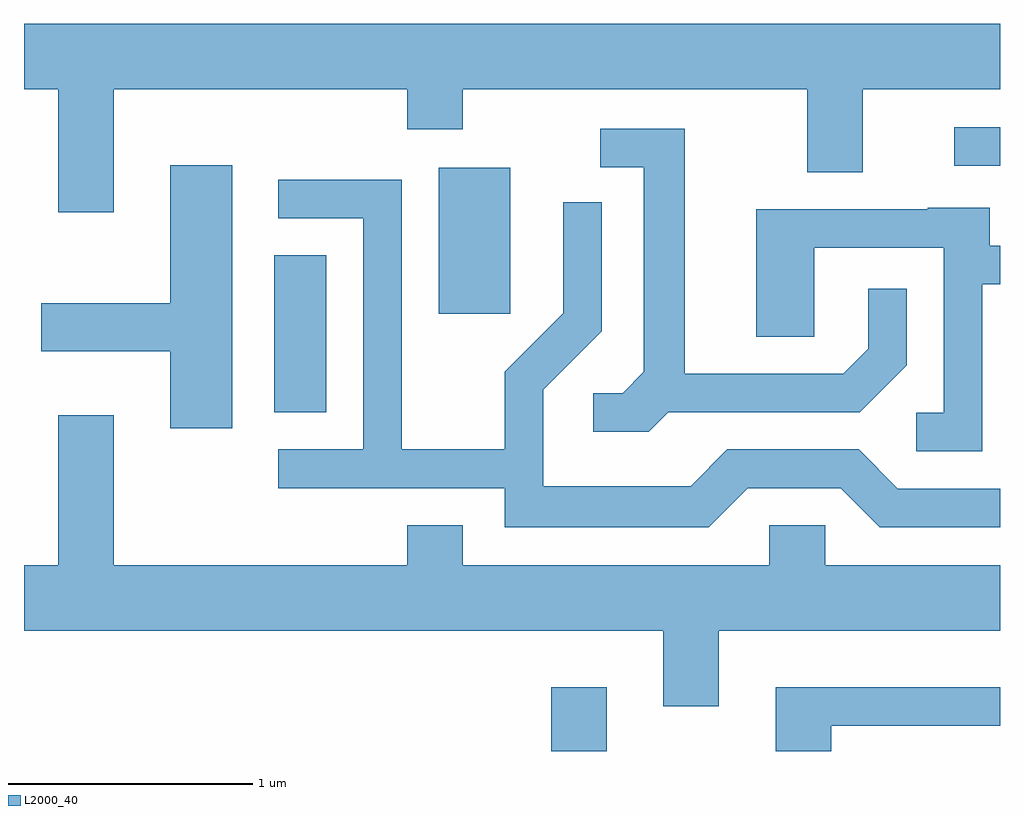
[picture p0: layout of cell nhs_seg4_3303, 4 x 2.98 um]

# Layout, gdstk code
import gdstk
lib = gdstk.Library(unit=1e-6, precision=1e-09)
def R(c, l, rs):  # rectangles x0, y0, x1, y1
    for r in rs: c.add(gdstk.rectangle(r[:2], r[2:], *l))
def P(c, l, *ps):  # polygons
    for p in ps: c.add(gdstk.Polygon(p, *l))
L2000_40 = (2000, 40)

nhs_seg4_3303 = lib.new_cell('nhs_seg4_3303')
R(nhs_seg4_3303, L2000_40, [(283.771,1331.982,283.999,1332.244), (282.636,1333.371,282.849,1334.014), (283.311,1333.776,283.604,1334.374), (285.423,1334.381,285.611,1334.539)])
P(nhs_seg4_3303, L2000_40, [(281.979,1334.696),(283.181,1334.696),(283.181,1334.531),(283.409,1334.531),(283.409,1334.696),(284.821,1334.696),(284.821,1334.356),(285.049,1334.356),(285.049,1334.696),(285.611,1334.696),(285.611,1334.964),(281.611,1334.964),(281.611,1334.696),(281.751,1334.696),(281.751,1334.191),(281.979,1334.191)],
  [(284.252,1333.371),(285.037,1333.371),(285.229,1333.564),(285.229,1333.878),(285.071,1333.878),(285.071,1333.632),(284.969,1333.529),(284.319,1333.529),(284.319,1334.534),(283.973,1334.534),(283.973,1334.376),(284.151,1334.376),(284.151,1333.537),(284.064,1333.449),(283.943,1333.449),(283.943,1333.291),(284.172,1333.291)],
  [(282.464,1334.384),(282.211,1334.384),(282.211,1333.819),(281.681,1333.819),(281.681,1333.621),(282.211,1333.621),(282.211,1333.306),(282.464,1333.306)],
  [(284.577,1333.061),(284.959,1333.061),(285.119,1332.901),(285.611,1332.901),(285.611,1333.059),(285.192,1333.059),(285.032,1333.219),(284.494,1333.219),(284.344,1333.069),(283.739,1333.069),(283.739,1333.464),(283.979,1333.704),(283.979,1334.233),(283.821,1334.233),(283.821,1333.777),(283.581,1333.537),(283.581,1333.219),(283.159,1333.219),(283.159,1334.324),(282.653,1334.324),(282.653,1334.166),(283.001,1334.166),(283.001,1333.219),(282.653,1333.219),(282.653,1333.061),(283.581,1333.061),(283.581,1332.901),(284.417,1332.901)],
  [(285.539,1333.896),(285.611,1333.896),(285.611,1334.054),(285.569,1334.054),(285.569,1334.209),(285.315,1334.209),(285.315,1334.204),(284.611,1334.204),(284.611,1333.681),(284.849,1333.681),(284.849,1334.046),(285.381,1334.046),(285.381,1333.369),(285.268,1333.369),(285.268,1333.211),(285.539,1333.211)],
  [(284.459,1332.476),(285.611,1332.476),(285.611,1332.744),(284.894,1332.744),(284.894,1332.909),(284.666,1332.909),(284.666,1332.744),(283.409,1332.744),(283.409,1332.909),(283.181,1332.909),(283.181,1332.744),(281.979,1332.744),(281.979,1333.359),(281.751,1333.359),(281.751,1332.744),(281.611,1332.744),(281.611,1332.476),(284.231,1332.476),(284.231,1332.166),(284.459,1332.166)],
  [(284.919,1332.086),(285.611,1332.086),(285.611,1332.244),(284.691,1332.244),(284.691,1331.982),(284.919,1331.982)])

lib.write_gds('nhs_seg4_3303.gds')
